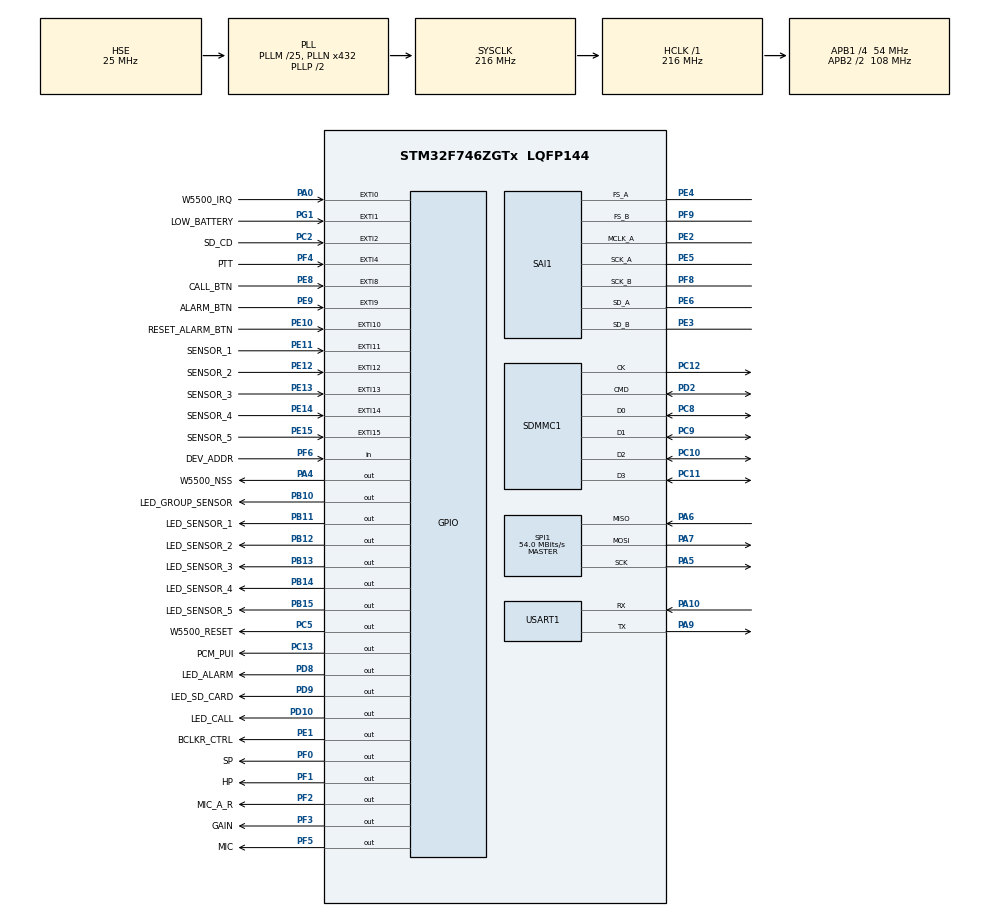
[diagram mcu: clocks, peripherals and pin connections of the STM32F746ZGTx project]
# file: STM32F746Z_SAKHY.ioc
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CORTEX_M7.CPU_DCache=Enabled
CORTEX_M7.CPU_ICache=Enabled
CORTEX_M7.default_mode_Activation=1
Dma.Request0=SDMMC1_RX
Dma.Request1=SDMMC1_TX
Dma.Request2=SAI1_A
Dma.Request3=SAI1_B
Dma.SAI1_A.2.Direction=DMA_MEMORY_TO_PERIPH
Dma.SAI1_A.2.FIFOMode=DMA_FIFOMODE_DISABLE
Dma.SAI1_A.2.Instance=DMA2_Stream1
Dma.SAI1_A.2.MemDataAlignment=DMA_MDATAALIGN_HALFWORD
Dma.SAI1_A.2.MemInc=DMA_MINC_ENABLE
Dma.SAI1_A.2.Mode=DMA_CIRCULAR
Dma.SAI1_A.2.PeriphDataAlignment=DMA_PDATAALIGN_HALFWORD
Dma.SAI1_A.2.PeriphInc=DMA_PINC_DISABLE
Dma.SAI1_A.2.Priority=DMA_PRIORITY_LOW
Dma.SAI1_B.3.Direction=DMA_PERIPH_TO_MEMORY
Dma.SAI1_B.3.FIFOMode=DMA_FIFOMODE_DISABLE
Dma.SAI1_B.3.Instance=DMA2_Stream4
Dma.SAI1_B.3.MemDataAlignment=DMA_MDATAALIGN_HALFWORD
Dma.SAI1_B.3.MemInc=DMA_MINC_ENABLE
Dma.SAI1_B.3.Mode=DMA_CIRCULAR
Dma.SAI1_B.3.PeriphDataAlignment=DMA_PDATAALIGN_HALFWORD
Dma.SAI1_B.3.PeriphInc=DMA_PINC_DISABLE
Dma.SAI1_B.3.Priority=DMA_PRIORITY_LOW
Dma.SDMMC1_RX.0.Direction=DMA_PERIPH_TO_MEMORY
Dma.SDMMC1_RX.0.FIFOMode=DMA_FIFOMODE_ENABLE
Dma.SDMMC1_RX.0.FIFOThreshold=DMA_FIFO_THRESHOLD_FULL
Dma.SDMMC1_RX.0.Instance=DMA2_Stream6
Dma.SDMMC1_RX.0.MemBurst=DMA_MBURST_INC4
Dma.SDMMC1_RX.0.MemDataAlignment=DMA_MDATAALIGN_WORD
Dma.SDMMC1_RX.0.MemInc=DMA_MINC_ENABLE
Dma.SDMMC1_RX.0.Mode=DMA_PFCTRL
Dma.SDMMC1_RX.0.PeriphBurst=DMA_PBURST_INC4
Dma.SDMMC1_RX.0.PeriphDataAlignment=DMA_PDATAALIGN_WORD
Dma.SDMMC1_RX.0.PeriphInc=DMA_PINC_DISABLE
Dma.SDMMC1_RX.0.Priority=DMA_PRIORITY_LOW
Dma.SDMMC1_TX.1.Direction=DMA_MEMORY_TO_PERIPH
Dma.SDMMC1_TX.1.FIFOMode=DMA_FIFOMODE_ENABLE
Dma.SDMMC1_TX.1.FIFOThreshold=DMA_FIFO_THRESHOLD_FULL
Dma.SDMMC1_TX.1.Instance=DMA2_Stream3
Dma.SDMMC1_TX.1.MemBurst=DMA_MBURST_INC4
Dma.SDMMC1_TX.1.MemDataAlignment=DMA_MDATAALIGN_WORD
Dma.SDMMC1_TX.1.MemInc=DMA_MINC_ENABLE
Dma.SDMMC1_TX.1.Mode=DMA_PFCTRL
Dma.SDMMC1_TX.1.PeriphBurst=DMA_PBURST_INC4
Dma.SDMMC1_TX.1.PeriphDataAlignment=DMA_PDATAALIGN_WORD
Dma.SDMMC1_TX.1.PeriphInc=DMA_PINC_DISABLE
Dma.SDMMC1_TX.1.Priority=DMA_PRIORITY_LOW
FATFS._MAX_SS=4096
FATFS._MIN_SS=512
FATFS._USE_LFN=0
FREERTOS.BinarySemaphores01=AudioWrSdBinarySem,Dynamic,NULL,Available
FREERTOS.Queues01=W5500Queue,16,w5500_msg_t,0,Dynamic,NULL,NULL;RxVocoderToAudioMixQueue,16,audio_msg_t,0,Dynamic,NULL,NULL;TxVocoderToAudioMixQueue,16,audio_msg_t,0,Dynamic,NULL,NULL;EthToAudioMixQueue,16,audio_msg_t,0,Dynamic,NULL,NULL;AudioVocoderToProcessAudioQueue,16,audio_msg_t,0,Dynamic,NULL,NULL;AudioWriteSdQueue,16,sd_msg_t,0,Dynamic,NULL,NULL;AudioEthToVocoderQueue,16,audio_msg_t,0,Dynamic,NULL,NULL;IOQueue,16,io_msg_t,0,Dynamic,NULL,NULL
FREERTOS.Tasks01=defaultTask,24,256,Default_Task,Default,NULL,Dynamic,NULL,NULL;W5500Task,8,1024,W5500_Task,Default,NULL,Dynamic,NULL,NULL;SdCardTask,8,2048,SdCard_Task,Default,NULL,Dynamic,NULL,NULL;AudioMixingTask,8,256,AudioMixing_Task,Default,NULL,Dynamic,NULL,NULL;ProcessIOTask,8,256,ProcessIO_Task,Default,NULL,Dynamic,NULL,NULL;WatchdogTask,8,256,Watchdog_Task,Default,NULL,Dynamic,NULL,NULL
FREERTOS.Timers01=CallLedTimer,CallLedCallback,osTimerPeriodic,Default,NULL,Dynamic,NULL
FREERTOS.configMINIMAL_STACK_SIZE=256
FREERTOS.configTOTAL_HEAP_SIZE=51200
FREERTOS.configUSE_NEWLIB_REENTRANT=1
IWDG.Prescaler=IWDG_PRESCALER_32
IWDG.Window=999
Mcu.Family=STM32F7
Mcu.Name=STM32F746ZGTx
Mcu.Package=LQFP144
NVIC.DMA2_Stream1_IRQn=true\:5\:0\:false\:false\:true\:true\:false\:true\:true
NVIC.DMA2_Stream3_IRQn=true\:5\:0\:false\:false\:true\:true\:false\:true\:true
NVIC.DMA2_Stream4_IRQn=true\:5\:0\:false\:false\:true\:true\:false\:true\:true
NVIC.DMA2_Stream6_IRQn=true\:5\:0\:false\:false\:true\:true\:false\:true\:true
NVIC.EXTI0_IRQn=true\:5\:0\:false\:false\:true\:true\:true\:true\:true
NVIC.EXTI15_10_IRQn=true\:5\:0\:false\:false\:true\:true\:true\:true\:true
NVIC.EXTI1_IRQn=true\:5\:0\:false\:false\:true\:true\:true\:true\:true
NVIC.EXTI2_IRQn=true\:5\:0\:false\:false\:true\:true\:true\:true\:true
NVIC.EXTI4_IRQn=true\:5\:0\:false\:false\:true\:true\:true\:true\:true
NVIC.EXTI9_5_IRQn=true\:5\:0\:false\:false\:true\:true\:true\:true\:true
NVIC.PriorityGroup=NVIC_PRIORITYGROUP_4
NVIC.SAI1_IRQn=true\:5\:0\:false\:false\:true\:true\:true\:true\:true
NVIC.SDMMC1_IRQn=true\:5\:0\:false\:false\:true\:true\:true\:true\:true
NVIC.TIM6_DAC_IRQn=true\:15\:0\:false\:false\:true\:false\:false\:true\:true
NVIC.TimeBase=TIM6_DAC_IRQn
NVIC.TimeBaseIP=TIM6
PA0/WKUP.GPIO_Label=W5500_IRQ
PA0/WKUP.GPIO_ModeDefaultEXTI=GPIO_MODE_IT_FALLING
PA0/WKUP.Signal=GPXTI0
PA10.Mode=Asynchronous
PA10.Signal=USART1_RX
PA13.Mode=Trace_Asynchronous_SW
PA13.Signal=SYS_JTMS-SWDIO
PA14.Mode=Trace_Asynchronous_SW
PA14.Signal=SYS_JTCK-SWCLK
PA4.GPIO_Label=W5500_NSS
PA4.Signal=GPIO_Output
PA5.Mode=Full_Duplex_Master
PA5.Signal=SPI1_SCK
PA6.Mode=Full_Duplex_Master
PA6.Signal=SPI1_MISO
PA7.Mode=Full_Duplex_Master
PA7.Signal=SPI1_MOSI
PA9.Mode=Asynchronous
PA9.Signal=USART1_TX
PB10.GPIO_Label=LED_GROUP_SENSOR
PB10.PinState=GPIO_PIN_SET
PB10.Signal=GPIO_Output
PB11.GPIO_Label=LED_SENSOR_1
PB11.PinState=GPIO_PIN_SET
PB11.Signal=GPIO_Output
PB12.GPIO_Label=LED_SENSOR_2
PB12.PinState=GPIO_PIN_SET
PB12.Signal=GPIO_Output
PB13.GPIO_Label=LED_SENSOR_3
PB13.PinState=GPIO_PIN_SET
PB13.Signal=GPIO_Output
PB14.GPIO_Label=LED_SENSOR_4
PB14.PinState=GPIO_PIN_SET
PB14.Signal=GPIO_Output
PB15.GPIO_Label=LED_SENSOR_5
PB15.PinState=GPIO_PIN_SET
PB15.Signal=GPIO_Output
PB3.Mode=Trace_Asynchronous_SW
PB3.Signal=SYS_JTDO-SWO
PC10.GPIO_PuPd=GPIO_PULLUP
PC10.Mode=SD_4_bits_Wide_bus
PC10.Signal=SDMMC1_D2
PC11.GPIO_PuPd=GPIO_PULLUP
PC11.Mode=SD_4_bits_Wide_bus
PC11.Signal=SDMMC1_D3
PC12.Mode=SD_4_bits_Wide_bus
PC12.Signal=SDMMC1_CK
PC13.GPIO_Label=PCM_PUI
PC13.PinState=GPIO_PIN_RESET
PC13.Signal=GPIO_Output
PC2.GPIO_Label=SD_CD
PC2.GPIO_ModeDefaultEXTI=GPIO_MODE_IT_RISING_FALLING
PC2.GPIO_PuPd=GPIO_PULLUP
PC2.Signal=GPXTI2
PC5.GPIO_Label=W5500_RESET
PC5.Signal=GPIO_Output
PC8.GPIO_PuPd=GPIO_PULLUP
PC8.Mode=SD_4_bits_Wide_bus
PC8.Signal=SDMMC1_D0
PC9.GPIO_PuPd=GPIO_PULLUP
PC9.Mode=SD_4_bits_Wide_bus
PC9.Signal=SDMMC1_D1
PD10.GPIO_Label=LED_CALL
PD10.Signal=GPIO_Output
PD2.GPIO_PuPd=GPIO_PULLUP
PD2.Mode=SD_4_bits_Wide_bus
PD2.Signal=SDMMC1_CMD
PD8.GPIO_Label=LED_ALARM
PD8.PinState=GPIO_PIN_SET
PD8.Signal=GPIO_Output
PD9.GPIO_Label=LED_SD_CARD
PD9.Signal=GPIO_Output
PE1.GPIO_Label=BCLKR_CTRL
PE1.Signal=GPIO_Output
PE10.GPIO_Label=RESET_ALARM_BTN
PE10.GPIO_ModeDefaultEXTI=GPIO_MODE_IT_FALLING
PE10.GPIO_PuPd=GPIO_PULLUP
PE10.Signal=GPXTI10
PE11.GPIO_Label=SENSOR_1
PE11.GPIO_ModeDefaultEXTI=GPIO_MODE_IT_RISING_FALLING
PE11.GPIO_PuPd=GPIO_PULLUP
PE11.Signal=GPXTI11
PE12.GPIO_Label=SENSOR_2
PE12.GPIO_ModeDefaultEXTI=GPIO_MODE_IT_RISING_FALLING
PE12.GPIO_PuPd=GPIO_PULLUP
PE12.Signal=GPXTI12
PE13.GPIO_Label=SENSOR_3
PE13.GPIO_ModeDefaultEXTI=GPIO_MODE_IT_RISING_FALLING
PE13.GPIO_PuPd=GPIO_PULLUP
PE13.Signal=GPXTI13
PE14.GPIO_Label=SENSOR_4
PE14.GPIO_ModeDefaultEXTI=GPIO_MODE_IT_RISING_FALLING
PE14.GPIO_PuPd=GPIO_PULLUP
PE14.Signal=GPXTI14
PE15.GPIO_Label=SENSOR_5
PE15.GPIO_ModeDefaultEXTI=GPIO_MODE_IT_RISING_FALLING
PE15.GPIO_PuPd=GPIO_PULLUP
PE15.Signal=GPXTI15
PE2.Mode=SAI_A_MasterWithClock
PE2.Signal=SAI1_MCLK_A
PE3.Mode=SAI_B_Master
PE3.Signal=SAI1_SD_B
PE4.Mode=SAI_A_MasterWithClock
PE4.Signal=SAI1_FS_A
PE5.Mode=SAI_A_MasterWithClock
PE5.Signal=SAI1_SCK_A
PE6.Mode=SAI_A_MasterWithClock
PE6.Signal=SAI1_SD_A
PE8.GPIO_Label=CALL_BTN
PE8.GPIO_ModeDefaultEXTI=GPIO_MODE_IT_RISING_FALLING
PE8.GPIO_PuPd=GPIO_PULLUP
PE8.Signal=GPXTI8
PE9.GPIO_Label=ALARM_BTN
PE9.GPIO_ModeDefaultEXTI=GPIO_MODE_IT_FALLING
PE9.GPIO_PuPd=GPIO_PULLUP
PE9.Signal=GPXTI9
PF0.GPIO_Label=SP
PF0.PinState=GPIO_PIN_SET
PF0.Signal=GPIO_Output
PF1.GPIO_Label=HP
PF1.GPIO_ModeDefaultOutputPP=GPIO_MODE_OUTPUT_OD
PF1.GPIO_PuPd=GPIO_NOPULL
PF1.PinState=GPIO_PIN_SET
PF1.Signal=GPIO_Output
PF2.GPIO_Label=MIC_A_R
PF2.Signal=GPIO_Output
PF3.GPIO_Label=GAIN
PF3.Signal=GPIO_Output
PF4.GPIO_Label=PTT
PF4.GPIO_ModeDefaultEXTI=GPIO_MODE_IT_RISING_FALLING
PF4.GPIO_PuPd=GPIO_NOPULL
PF4.Signal=GPXTI4
PF5.GPIO_Label=MIC
PF5.PinState=GPIO_PIN_SET
PF5.Signal=GPIO_Output
PF6.GPIO_Label=DEV_ADDR
PF6.Signal=GPIO_Input
PF8.Mode=SAI_B_Master
PF8.Signal=SAI1_SCK_B
PF9.Mode=SAI_B_Master
PF9.Signal=SAI1_FS_B
PG1.GPIO_Label=LOW_BATTERY
PG1.Signal=GPXTI1
PH0/OSC_IN.Mode=HSE-External-Oscillator
PH0/OSC_IN.Signal=RCC_OSC_IN
PH1/OSC_OUT.Mode=HSE-External-Oscillator
PH1/OSC_OUT.Signal=RCC_OSC_OUT
ProjectManager.HeapSize=0x2000
ProjectManager.StackSize=0x4000
ProjectManager.TargetToolchain=STM32CubeIDE
RCC.AHBFreq_Value=216000000
RCC.APB1CLKDivider=RCC_HCLK_DIV4
RCC.APB1Freq_Value=54000000
RCC.APB1TimFreq_Value=108000000
RCC.APB2CLKDivider=RCC_HCLK_DIV2
RCC.APB2Freq_Value=108000000
RCC.APB2TimFreq_Value=216000000
RCC.CortexFreq_Value=216000000
RCC.HCLKFreq_Value=216000000
RCC.HSE_VALUE=25000000
RCC.HSI_VALUE=16000000
RCC.LSE_VALUE=32768
RCC.PLLM=25
RCC.PLLN=432
RCC.PLLQ=9
RCC.PLLSAIN=128
RCC.PLLSAIQ=10
RCC.PLLSAIQDiv=25
RCC.PLLSourceVirtual=RCC_PLLSOURCE_HSE
RCC.SDMMCClockSelection=RCC_SDMMC1CLKSOURCE_CLK48
RCC.SYSCLKFreq_VALUE=216000000
RCC.SYSCLKSource=RCC_SYSCLKSOURCE_PLLCLK
RCC.USBFreq_Value=48000000
RCC.VCOOutputFreq_Value=432000000
SAI1.AudioFrequency-SAI_A_MasterWithClock=SAI_AUDIO_FREQUENCY_8K
SAI1.AudioFrequency-SAI_B_Master=SAI_AUDIO_FREQUENCY_8K
SAI1.AudioMode-SAI_B_Master=SAI_MODEMASTER_RX
SAI1.ClockStrobing-SAI_A_MasterWithClock=SAI_CLOCKSTROBING_RISINGEDGE
SAI1.ClockStrobing-SAI_B_Master=SAI_CLOCKSTROBING_FALLINGEDGE
SAI1.DataSize-SAI_A_MasterWithClock=SAI_DATASIZE_16
SAI1.DataSize-SAI_B_Master=SAI_DATASIZE_16
SAI1.ErrorAudioFreq-SAI_A_MasterWithClock=-75.0 %
SAI1.ErrorAudioFreq-SAI_B_Master=-75.0 %
SAI1.FSOffset-SAI_A_MasterWithClock=SAI_FS_BEFOREFIRSTBIT
SAI1.FSOffset-SAI_B_Master=SAI_FS_BEFOREFIRSTBIT
SAI1.FSPolarity-SAI_A_MasterWithClock=SAI_FS_ACTIVE_HIGH
SAI1.FSPolarity-SAI_B_Master=SAI_FS_ACTIVE_HIGH
SAI1.FrameLength-SAI_A_MasterWithClock=64
SAI1.FrameLength-SAI_B_Master=64
SAI1.Instance-SAI_A_MasterWithClock=SAI$Index_Block_A
SAI1.Instance-SAI_B_Master=SAI$Index_Block_B
SAI1.MClockEnable-SAI_A_MasterWithClock=SAI_MASTERCLOCK_ENABLE
SAI1.MClockEnable-SAI_B_Master=SAI_MASTERCLOCK_DISABLE
SAI1.MonoStereoMode-SAI_A_MasterWithClock=SAI_STEREOMODE
SAI1.MonoStereoMode-SAI_B_Master=SAI_STEREOMODE
SAI1.NoDivider-SAI_A_MasterWithClock=SAI_MASTERDIVIDER_DISABLE
SAI1.NoDivider-SAI_B_Master=SAI_MASTERDIVIDER_DISABLE
SAI1.OutputDrive-SAI_A_MasterWithClock=SAI_OUTPUTDRIVE_DISABLE
SAI1.OutputDrive-SAI_B_Master=SAI_OUTPUTDRIVE_DISABLE
SAI1.RealAudioFreq-SAI_A_MasterWithClock=8.0 KHz
SAI1.RealAudioFreq-SAI_B_Master=8.0 KHz
SAI1.SlotActive-SAI_A_MasterWithClock=0x0000FFFF
SAI1.SlotActive-SAI_B_Master=0x0000FFFF
SAI1.TriState-SAI_A_MasterWithClock=SAI_OUTPUT_NOTRELEASED
SAI1.VirtualMode-SAI_A_MasterWithClock=VM_MASTER
SAI1.VirtualMode-SAI_B_Master=VM_MASTER
SAI1.VirtualSlotActive-SAI_A_MasterWithClock=SAI_SLOTACTIVE_ALL
SAI1.VirtualSlotActive-SAI_B_Master=SAI_SLOTACTIVE_ALL
SDMMC1.HardwareFlowControl=SDMMC_HARDWARE_FLOW_CONTROL_DISABLE
SPI1.BaudRatePrescaler=SPI_BAUDRATEPRESCALER_2
SPI1.CalculateBaudRate=54.0 MBits/s
SPI1.DataSize=SPI_DATASIZE_8BIT
SPI1.Direction=SPI_DIRECTION_2LINES
SPI1.Mode=SPI_MODE_MASTER
SPI1.VirtualType=VM_MASTER
USART1.VirtualMode-Asynchronous=VM_ASYNC
VP_FATFS_VS_SDIO.Mode=SDIO
VP_FREERTOS_VS_CMSIS_V2.Mode=CMSIS_V2
VP_IWDG_VS_IWDG.Mode=IWDG_Activate
VP_RTC_VS_RTC_Activate.Mode=RTC_Enabled
VP_RTC_VS_RTC_Calendar.Mode=RTC_Calendar
VP_SYS_VS_tim6.Mode=TIM6
board=custom

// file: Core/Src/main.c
/* USER CODE BEGIN Header */
/**
  ******************************************************************************
  * @file           : main.c
  * @brief          : Main program body
  ******************************************************************************
  * @attention
  *
  * Copyright (c) 2025 STMicroelectronics.
  * All rights reserved.
  *
  * This software is licensed under terms that can be found in the LICENSE file
  * in the root directory of this software component.
  * If no LICENSE file comes with this software, it is provided AS-IS.
  *
  ******************************************************************************
  */
/* USER CODE END Header */
#include "main.h"
#include "cmsis_os.h"
#include "dma.h"
#include "fatfs.h"
#include "rtc.h"
#include "sai.h"
#include "sdmmc.h"
#include "spi.h"
#include "usart.h"
#include "gpio.h"

void SystemClock_Config(void);
void PeriphCommonClock_Config(void);
static void MPU_Config(void);
void MX_FREERTOS_Init(void);

/* USER CODE BEGIN 0 */
/**
 * @brief Retarget printf to ITM/SWO (for debugging).
 */
int _write(int file, char *ptr, int len)
{
	for (int i = 0; i < len; i++) {
		ITM_SendChar(*ptr++);
	}
	return len;
}
/* USER CODE END 0 */

int main(void)
{

  /* MPU Configuration--------------------------------------------------------*/
  MPU_Config();

  /* Enable the CPU Cache */

  /* Enable I-Cache---------------------------------------------------------*/
  SCB_EnableICache();

  /* Enable D-Cache---------------------------------------------------------*/
  SCB_EnableDCache();

  /* MCU Configuration--------------------------------------------------------*/

  /* Reset of all peripherals, Initializes the Flash interface and the Systick. */
  HAL_Init();

  /* Configure the system clock */
  SystemClock_Config();

  /* Configure the peripherals common clocks */
  PeriphCommonClock_Config();

  /* Initialize all configured peripherals */
  MX_GPIO_Init();
  MX_DMA_Init();
  MX_SAI1_Init();
  MX_SDMMC1_SD_Init();
  MX_SPI1_Init();
  MX_USART1_UART_Init();
  MX_RTC_Init();

  /* Init scheduler */
  osKernelInitialize();  /* Call init function for freertos objects (in cmsis_os2.c) */
  MX_FREERTOS_Init();

  /* Start scheduler */
  osKernelStart();

  /* We should never get here as control is now taken by the scheduler */

  /* Infinite loop */
  while (1)
  {

  }
}

void SystemClock_Config(void)
{
  RCC_OscInitTypeDef RCC_OscInitStruct = {0};
  RCC_ClkInitTypeDef RCC_ClkInitStruct = {0};

  /** Configure the main internal regulator output voltage
  */
  __HAL_RCC_PWR_CLK_ENABLE();
  __HAL_PWR_VOLTAGESCALING_CONFIG(PWR_REGULATOR_VOLTAGE_SCALE1);

  /** Initializes the RCC Oscillators according to the specified parameters
  * in the RCC_OscInitTypeDef structure.
  */
  RCC_OscInitStruct.OscillatorType = RCC_OSCILLATORTYPE_LSI|RCC_OSCILLATORTYPE_HSE;
  RCC_OscInitStruct.HSEState = RCC_HSE_ON;
  RCC_OscInitStruct.LSIState = RCC_LSI_ON;
  RCC_OscInitStruct.PLL.PLLState = RCC_PLL_ON;
  RCC_OscInitStruct.PLL.PLLSource = RCC_PLLSOURCE_HSE;
  RCC_OscInitStruct.PLL.PLLM = 25;
  RCC_OscInitStruct.PLL.PLLN = 432;
  RCC_OscInitStruct.PLL.PLLP = RCC_PLLP_DIV2;
  RCC_OscInitStruct.PLL.PLLQ = 9;
  if (HAL_RCC_OscConfig(&RCC_OscInitStruct) != HAL_OK)
  {
    Error_Handler();
  }

  /** Activate the Over-Drive mode
  */
  if (HAL_PWREx_EnableOverDrive() != HAL_OK)
  {
    Error_Handler();
  }

  /** Initializes the CPU, AHB and APB buses clocks
  */
  RCC_ClkInitStruct.ClockType = RCC_CLOCKTYPE_HCLK|RCC_CLOCKTYPE_SYSCLK
                              |RCC_CLOCKTYPE_PCLK1|RCC_CLOCKTYPE_PCLK2;
  RCC_ClkInitStruct.SYSCLKSource = RCC_SYSCLKSOURCE_PLLCLK;
  RCC_ClkInitStruct.AHBCLKDivider = RCC_SYSCLK_DIV1;
  RCC_ClkInitStruct.APB1CLKDivider = RCC_HCLK_DIV4;
  RCC_ClkInitStruct.APB2CLKDivider = RCC_HCLK_DIV2;

  if (HAL_RCC_ClockConfig(&RCC_ClkInitStruct, FLASH_LATENCY_7) != HAL_OK)
  {
    Error_Handler();
  }
}

void PeriphCommonClock_Config(void)
{
  RCC_PeriphCLKInitTypeDef PeriphClkInitStruct = {0};

  /** Initializes the peripherals clock
  */
  PeriphClkInitStruct.PeriphClockSelection = RCC_PERIPHCLK_SAI1|RCC_PERIPHCLK_CLK48;
  PeriphClkInitStruct.PLLSAI.PLLSAIN = 128;
  PeriphClkInitStruct.PLLSAI.PLLSAIR = 2;
  PeriphClkInitStruct.PLLSAI.PLLSAIQ = 10;
  PeriphClkInitStruct.PLLSAI.PLLSAIP = RCC_PLLSAIP_DIV2;
  PeriphClkInitStruct.PLLSAIDivQ = 25;
  PeriphClkInitStruct.PLLSAIDivR = RCC_PLLSAIDIVR_2;
  PeriphClkInitStruct.Sai1ClockSelection = RCC_SAI1CLKSOURCE_PLLSAI;
  if (HAL_RCCEx_PeriphCLKConfig(&PeriphClkInitStruct) != HAL_OK)
  {
    Error_Handler();
  }
}

 /* MPU Configuration */

void MPU_Config(void)
{
  MPU_Region_InitTypeDef MPU_InitStruct = {0};

  /* Disables the MPU */
  HAL_MPU_Disable();

  /** Initializes and configures the Region and the memory to be protected
  */
  MPU_InitStruct.Enable = MPU_REGION_ENABLE;
  MPU_InitStruct.Number = MPU_REGION_NUMBER0;
  MPU_InitStruct.BaseAddress = 0x0;
  MPU_InitStruct.Size = MPU_REGION_SIZE_4GB;
  MPU_InitStruct.SubRegionDisable = 0x87;
  MPU_InitStruct.TypeExtField = MPU_TEX_LEVEL0;
  MPU_InitStruct.AccessPermission = MPU_REGION_NO_ACCESS;
  MPU_InitStruct.DisableExec = MPU_INSTRUCTION_ACCESS_DISABLE;
  MPU_InitStruct.IsShareable = MPU_ACCESS_SHAREABLE;
  MPU_InitStruct.IsCacheable = MPU_ACCESS_NOT_CACHEABLE;
  MPU_InitStruct.IsBufferable = MPU_ACCESS_NOT_BUFFERABLE;

  HAL_MPU_ConfigRegion(&MPU_InitStruct);
  /* Enables the MPU */
  HAL_MPU_Enable(MPU_PRIVILEGED_DEFAULT);

}

void HAL_TIM_PeriodElapsedCallback(TIM_HandleTypeDef *htim)
{
  if (htim->Instance == TIM6)
  {
    HAL_IncTick();
  }
}

void Error_Handler(void)
{
  __disable_irq();
  while (1)
  {
  }
}

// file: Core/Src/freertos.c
/* USER CODE BEGIN Header */
/**
 ******************************************************************************
 * File Name          : freertos.c
 * Description        : Code for freertos applications
 ******************************************************************************
 * @attention
 *
 * Copyright (c) 2025 STMicroelectronics.
 * All rights reserved.
 *
 * This software is licensed under terms that can be found in the LICENSE file
 * in the root directory of this software component.
 * If no LICENSE file comes with this software, it is provided AS-IS.
 *
 ******************************************************************************
 */
/* USER CODE END Header */

#include "FreeRTOS.h"
#include "cmsis_os.h"
#include "main.h"
#include "task.h"

/* USER CODE BEGIN Includes */
#include "audio_mixing.h"
#include "device.h"
#include "ethernet.h"
#include "fatfs_app.h"
#include "heap_pool.h"
#include "io_control.h"
#include "iwdg.h"
#include "rtc.h"
#include "sai.h"
#include "sdmmc.h"
#include <stdio.h>
/* USER CODE END Includes */

/* USER CODE BEGIN PTD */
enum
{
  TASK_ID_0,
  TASK_ID_1,
  TASK_ID_2,
  TASK_ID_3,
  TASK_ID_ALL,
};
/**
 * @brief W5500 operation state.
 */
typedef enum
{
  W5500_CMD_RECEIVE,         /**< Receiving data from W5500 */
  W5500_CMD_TRANSMIT_SAMPLE, /**< Transmitting data sample to W5500 */
  W5500_CMD_TRANSMIT_FIELD,  /**< Transmitting data field to W5500 */
} w5500_cmd_e;

typedef enum
{
  IO_CMD_LOW_BATTERY,
  IO_CMD_SD_CD,
  IO_CMD_PTT,
  IO_CMD_CALL_LOCAL,
  IO_CMD_CALL_DEST,
  IO_CMD_ALARM_LOCAL,
  IO_CMD_ALARM_DEST,
  IO_CMD_RESET_ALARM,
  IO_CMD_SENSOR_LOCAL,
  IO_CMD_SENSOR_DEST,
} io_cmd_e;

typedef enum
{
  SD_INIT,
  SD_DEINIT,
  SD_CREATE_WAV_FILE,
  SD_WRITE_WAV_DATA,
  SD_FILE_WAV_CLOSE,
} sd_cmd_e;

typedef struct
{
  uint8_t active_buf;
  uint32_t write_offset;
} sd_write_state_t;

typedef struct
{
  uint32_t cnt;
} record_t;

typedef enum
{
  FIELD_CMD,
  FIELD_DATA,
  FIELD_SIZE,
} field_size_e;

typedef struct
{
  w5500_cmd_e w5500_cmd;
  io_cmd_e io_cmd;
  uint8_t field;
  uint8_t *data_ptr;
  uint16_t data_len;
} w5500_msg_t;

typedef enum
{
  VOCODER_CMD_BUFFER_0,
  VOCODER_CMD_BUFFER_1
} vocoder_cmd_t;

typedef struct
{
  vocoder_cmd_t cmd;
  int16_t *ptr;
} vocoder_msg_t;

typedef struct
{
  int16_t *ptr;
} audio_msg_t;

typedef struct
{
  io_cmd_e cmd;
  uint8_t field;
} io_msg_t;

typedef struct
{
  sd_cmd_e cmd;
  int16_t *ptr;
} sd_msg_t;

/* USER CODE END PTD */

/* USER CODE BEGIN PD */
#define NUM_TASKS TASK_ID_ALL

#define AUDIO_SAMPLE_SIZE 160
#define AUDIO_BUF_SIZE AUDIO_SAMPLE_SIZE
#define W5500_BUF_SIZE (AUDIO_SAMPLE_SIZE * 2)
#define SD_WRITE_BUF_SIZE 8000  // 8000 = 500 ms
#define RECORD_BLOCK_COUNT 6000 // 3000 sec one block 500 ms

#define HEAP_POOL_AUDIO_ETH_TO_VOCODER_BLOCK_COUNT 20
#define HEAP_POOL_AUDIO_ETH_TO_VOCODER_BLOCK_SIZE (AUDIO_SAMPLE_SIZE * 2)

#define HEAP_POOL_AUDIO_WR_SD_BLOCK_COUNT 20
#define HEAP_POOL_AUDIO_WR_SD_BLOCK_SIZE (AUDIO_SAMPLE_SIZE * 2)
/* USER CODE END PD */

/* USER CODE BEGIN Variables */
volatile uint8_t task_alive[NUM_TASKS] = {0, 0, 0, 0};

uint8_t w5500_buf_tx[W5500_BUF_SIZE];
uint8_t w5500_buf_rx[W5500_BUF_SIZE];
/* --- Double buffers --- */
int16_t sai_a_buf[AUDIO_BUF_SIZE * 2] __ALIGNED(4);
int16_t sai_b_buf[AUDIO_BUF_SIZE * 2] __ALIGNED(4);
int16_t silence_buffer[AUDIO_SAMPLE_SIZE] = {0};

__attribute__((aligned(32))) static uint8_t sd_buf[2][SD_WRITE_BUF_SIZE];
static sd_write_state_t sd_state = {.active_buf = 0, .write_offset = 0};

uint8_t heap_pool_audio_eth_to_vocoder_memory[HEAP_POOL_AUDIO_ETH_TO_VOCODER_BLOCK_COUNT *
                                              HEAP_POOL_AUDIO_ETH_TO_VOCODER_BLOCK_SIZE] __ALIGNED(4);
uint8_t heap_pool_audio_eth_to_vocoder_bitmap[(HEAP_POOL_AUDIO_ETH_TO_VOCODER_BLOCK_COUNT - 7) / 8];
heap_pool_t heap_pool_audio_eth_to_vocoder;

uint8_t heap_pool_audio_wr_sd_memory[HEAP_POOL_AUDIO_WR_SD_BLOCK_COUNT * HEAP_POOL_AUDIO_WR_SD_BLOCK_SIZE] __ALIGNED(4);
uint8_t heap_pool_audio_wr_sd_bitmap[(HEAP_POOL_AUDIO_WR_SD_BLOCK_COUNT - 7) / 8];
heap_pool_t heap_pool_audio_wr_sd;

field_t device_local;
field_t device_remote;

record_t record;
/* USER CODE END Variables */
/* Definitions for defaultTask */
osThreadId_t defaultTaskHandle;
const osThreadAttr_t defaultTask_attributes = {
    .name = "defaultTask",
    .stack_size = 256 * 4,
    .priority = (osPriority_t)osPriorityNormal,
};
/* Definitions for W5500Task */
osThreadId_t W5500TaskHandle;
const osThreadAttr_t W5500Task_attributes = {
    .name = "W5500Task",
    .stack_size = 1024 * 4,
    .priority = (osPriority_t)osPriorityLow,
};
/* Definitions for SdCardTask */
osThreadId_t SdCardTaskHandle;
const osThreadAttr_t SdCardTask_attributes = {
    .name = "SdCardTask",
    .stack_size = 2048 * 4,
    .priority = (osPriority_t)osPriorityLow,
};
/* Definitions for AudioMixingTask */
osThreadId_t AudioMixingTaskHandle;
const osThreadAttr_t AudioMixingTask_attributes = {
    .name = "AudioMixingTask",
    .stack_size = 256 * 4,
    .priority = (osPriority_t)osPriorityLow,
};
/* Definitions for ProcessIOTask */
osThreadId_t ProcessIOTaskHandle;
const osThreadAttr_t ProcessIOTask_attributes = {
    .name = "ProcessIOTask",
    .stack_size = 256 * 4,
    .priority = (osPriority_t)osPriorityLow,
};
/* Definitions for WatchdogTask */
osThreadId_t WatchdogTaskHandle;
const osThreadAttr_t WatchdogTask_attributes = {
    .name = "WatchdogTask",
    .stack_size = 256 * 4,
    .priority = (osPriority_t)osPriorityLow,
};
/* Definitions for W5500Queue */
osMessageQueueId_t W5500QueueHandle;
const osMessageQueueAttr_t W5500Queue_attributes = {.name = "W5500Queue"};
/* Definitions for RxVocoderToAudioMixQueue */
osMessageQueueId_t RxVocoderToAudioMixQueueHandle;
const osMessageQueueAttr_t RxVocoderToAudioMixQueue_attributes = {.name = "RxVocoderToAudioMixQueue"};
/* Definitions for TxVocoderToAudioMixQueue */
osMessageQueueId_t TxVocoderToAudioMixQueueHandle;
const osMessageQueueAttr_t TxVocoderToAudioMixQueue_attributes = {.name = "TxVocoderToAudioMixQueue"};
/* Definitions for EthToAudioMixQueue */
osMessageQueueId_t EthToAudioMixQueueHandle;
const osMessageQueueAttr_t EthToAudioMixQueue_attributes = {.name = "EthToAudioMixQueue"};
/* Definitions for AudioVocoderToProcessAudioQueue */
osMessageQueueId_t AudioVocoderToProcessAudioQueueHandle;
const osMessageQueueAttr_t AudioVocoderToProcessAudioQueue_attributes = {.name = "AudioVocoderToProcessAudioQueue"};
/* Definitions for AudioWriteSdQueue */
osMessageQueueId_t AudioWriteSdQueueHandle;
const osMessageQueueAttr_t AudioWriteSdQueue_attributes = {.name = "AudioWriteSdQueue"};
/* Definitions for AudioEthToVocoderQueue */
osMessageQueueId_t AudioEthToVocoderQueueHandle;
const osMessageQueueAttr_t AudioEthToVocoderQueue_attributes = {.name = "AudioEthToVocoderQueue"};
/* Definitions for IOQueue */
osMessageQueueId_t IOQueueHandle;
const osMessageQueueAttr_t IOQueue_attributes = {.name = "IOQueue"};
/* Definitions for CallLedTimer */
osTimerId_t CallLedTimerHandle;
const osTimerAttr_t CallLedTimer_attributes = {.name = "CallLedTimer"};
/* Definitions for AudioWrSdBinarySem */
osSemaphoreId_t AudioWrSdBinarySemHandle;
const osSemaphoreAttr_t AudioWrSdBinarySem_attributes = {.name = "AudioWrSdBinarySem"};

/* USER CODE BEGIN FunctionPrototypes */
void timer_call_start(void);
void timer_call_stop(void);
static uint8_t all_tasks_alive(void);
/* USER CODE END FunctionPrototypes */

void Default_Task(void *argument);
void W5500_Task(void *argument);
void SdCard_Task(void *argument);
void AudioMixing_Task(void *argument);
void ProcessIO_Task(void *argument);
void Watchdog_Task(void *argument);
void CallLedCallback(void *argument);

void MX_FREERTOS_Init(void); /* (MISRA C 2004 rule 8.1) */

void MX_FREERTOS_Init(void)
{
  /* USER CODE BEGIN Init */
  heap_pool_init(&heap_pool_audio_eth_to_vocoder, heap_pool_audio_eth_to_vocoder_memory, heap_pool_audio_eth_to_vocoder_bitmap,
                 HEAP_POOL_AUDIO_ETH_TO_VOCODER_BLOCK_SIZE, HEAP_POOL_AUDIO_ETH_TO_VOCODER_BLOCK_COUNT);
  heap_pool_init(&heap_pool_audio_wr_sd, heap_pool_audio_wr_sd_memory, heap_pool_audio_wr_sd_bitmap, HEAP_POOL_AUDIO_WR_SD_BLOCK_SIZE,
                 HEAP_POOL_AUDIO_WR_SD_BLOCK_COUNT);

  mic_ar_set(AR_MED);
  mic_gain_set(GAIN_50DB);
  BCLKR_Set_Low();
  HAL_SAI_Transmit_DMA(&hsai_BlockA1, (uint8_t *)sai_a_buf, AUDIO_BUF_SIZE * 2);
  HAL_SAI_Receive_DMA(&hsai_BlockB1, (uint8_t *)sai_b_buf, AUDIO_BUF_SIZE * 2);
  /* USER CODE END Init */

  /* Create the semaphores(s) */
  /* creation of AudioWrSdBinarySem */
  AudioWrSdBinarySemHandle = osSemaphoreNew(1, 1, &AudioWrSdBinarySem_attributes);

  /* Create the timer(s) */
  /* creation of CallLedTimer */
  CallLedTimerHandle = osTimerNew(CallLedCallback, osTimerPeriodic, NULL, &CallLedTimer_attributes);

  /* Create the queue(s) */
  /* creation of W5500Queue */
  W5500QueueHandle = osMessageQueueNew(16, sizeof(w5500_msg_t), &W5500Queue_attributes);

  /* creation of RxVocoderToAudioMixQueue */
  RxVocoderToAudioMixQueueHandle = osMessageQueueNew(16, sizeof(audio_msg_t), &RxVocoderToAudioMixQueue_attributes);

  /* creation of TxVocoderToAudioMixQueue */
  TxVocoderToAudioMixQueueHandle = osMessageQueueNew(16, sizeof(audio_msg_t), &TxVocoderToAudioMixQueue_attributes);

  /* creation of EthToAudioMixQueue */
  EthToAudioMixQueueHandle = osMessageQueueNew(16, sizeof(audio_msg_t), &EthToAudioMixQueue_attributes);

  /* creation of AudioVocoderToProcessAudioQueue */
  AudioVocoderToProcessAudioQueueHandle = osMessageQueueNew(16, sizeof(audio_msg_t), &AudioVocoderToProcessAudioQueue_attributes);

  /* creation of AudioWriteSdQueue */
  AudioWriteSdQueueHandle = osMessageQueueNew(16, sizeof(sd_msg_t), &AudioWriteSdQueue_attributes);

  /* creation of AudioEthToVocoderQueue */
  AudioEthToVocoderQueueHandle = osMessageQueueNew(16, sizeof(audio_msg_t), &AudioEthToVocoderQueue_attributes);

  /* creation of IOQueue */
  IOQueueHandle = osMessageQueueNew(16, sizeof(io_msg_t), &IOQueue_attributes);

  /* Create the thread(s) */
  /* creation of defaultTask */
  defaultTaskHandle = osThreadNew(Default_Task, NULL, &defaultTask_attributes);

  /* creation of W5500Task */
  W5500TaskHandle = osThreadNew(W5500_Task, NULL, &W5500Task_attributes);

  /* creation of SdCardTask */
  SdCardTaskHandle = osThreadNew(SdCard_Task, NULL, &SdCardTask_attributes);

  /* creation of AudioMixingTask */
  AudioMixingTaskHandle = osThreadNew(AudioMixing_Task, NULL, &AudioMixingTask_attributes);

  /* creation of ProcessIOTask */
  ProcessIOTaskHandle = osThreadNew(ProcessIO_Task, NULL, &ProcessIOTask_attributes);

  /* creation of WatchdogTask */
  WatchdogTaskHandle = osThreadNew(Watchdog_Task, NULL, &WatchdogTask_attributes);

}

void Default_Task(void *argument)
{
  for (;;)
  {
    osDelay(1);
  }
}

void W5500_Task(void *argument)
{
  /* USER CODE BEGIN W5500_Task */
  osStatus_t status;
  w5500_msg_t w5500_msg;
  io_msg_t io_msg;
  uint8_t *u8_ptr;
  audio_msg_t audio_msg;
  uint16_t len;
  uint8_t sn;
  uint8_t from_pool = 1;

  ethernet_init();
  udp_socket_open();
  /* Infinite loop */
  for (;;)
  {
    status = osMessageQueueGet(W5500QueueHandle, &w5500_msg, NULL, 100);
    if (status == osOK)
    {
      switch (w5500_msg.w5500_cmd)
      {
      case W5500_CMD_RECEIVE:
        u8_ptr = heap_pool_alloc(&heap_pool_audio_eth_to_vocoder);
        if (u8_ptr == NULL)
        {
          u8_ptr = w5500_buf_rx;
          from_pool = 0;
        }
        else
        {
          from_pool = 1;
        }
        len = udp_socket_receive(u8_ptr);
        if (len == AUDIO_SAMPLE_SIZE * 2)
        {
          if (ptt_state_get() == PTT_ACTIVE)
          {
            audio_msg.ptr = (int16_t *)u8_ptr;
            osMessageQueuePut(EthToAudioMixQueueHandle, &audio_msg, 0U, 0U);
          }
          else
          {
            if (from_pool)
            {
              heap_pool_free(&heap_pool_audio_eth_to_vocoder, u8_ptr);
            }
          }
        }
        else if (len == FIELD_SIZE)
        {
          io_msg.cmd = u8_ptr[FIELD_CMD];
          io_msg.field = u8_ptr[FIELD_DATA];
          osMessageQueuePut(IOQueueHandle, &io_msg, 0U, 0U);
          if (from_pool)
          {
            heap_pool_free(&heap_pool_audio_eth_to_vocoder, u8_ptr);
          }
        }
        else
        {
          if (from_pool)
          {
            heap_pool_free(&heap_pool_audio_eth_to_vocoder, u8_ptr);
          }
        }
        break;
      case W5500_CMD_TRANSMIT_SAMPLE: udp_socket_send((uint8_t *)w5500_msg.data_ptr, AUDIO_SAMPLE_SIZE * 2); break;
      case W5500_CMD_TRANSMIT_FIELD:
        w5500_buf_tx[FIELD_CMD] = w5500_msg.io_cmd;
        w5500_buf_tx[FIELD_DATA] = w5500_msg.field;
        udp_socket_send(w5500_buf_tx, FIELD_SIZE);
        break;
      default: break;
      }
    }
    else
    {
      sn = w5500_get_sn_ir(UDP_SOCKET);
      if (sn & SOCKET_INT_RECV)
      {
        w5500_msg_t w5500_msg = {.w5500_cmd = W5500_CMD_RECEIVE};
        osMessageQueuePut(W5500QueueHandle, &w5500_msg, 0U, 0U);
      }
    }
    task_alive[TASK_ID_0] = 1;
  }
  /* USER CODE END W5500_Task */
}

void SdCard_Task(void *argument)
{
  /* USER CODE BEGIN SdCard_Task */
  osStatus_t status = osError;
  uint8_t sd_card_init_flag = 0;
  uint8_t rtc_time_set_flag = 0;
  sd_msg_t sd_msg;
  RTC_TimeTypeDef time = {0};
  RTC_DateTypeDef date = {0};
  /* Infinite loop */
  sd_card_led_off();
  if (sd_cd_state_get() == SD_CD_LOW)
  {
    sd_msg.cmd = SD_INIT;
    osMessageQueuePut(AudioWriteSdQueueHandle, &sd_msg, 0U, 0U);
  }

  for (;;)
  {
    status = osMessageQueueGet(AudioWriteSdQueueHandle, &sd_msg, NULL, 100);
    if (status == osOK)
    {
      switch (sd_msg.cmd)
      {
      case SD_INIT:
        if (!sd_card_init_flag)
        {
          MX_FATFS_Init();
          __HAL_RCC_SDMMC1_FORCE_RESET();
          __HAL_RCC_SDMMC1_RELEASE_RESET();
          if (HAL_SD_Init(&hsd1) != HAL_OK)
          {
            MX_FATFS_DeInit();
            break;
          }
          if (fs_check_fat32() == FR_OK)
          {
            sd_card_led_on();
            sd_card_init_flag = 1;
            wav_file_count_set(fatfs32_count_wav_files());
            if (!rtc_time_set_flag)
            {
              FRESULT res = read_datetime_from_index_dat(&time, &date);
              if (res == FR_OK)
              {
                HAL_RTC_SetTime(&hrtc, &time, RTC_FORMAT_BIN);
                HAL_RTC_SetDate(&hrtc, &date, RTC_FORMAT_BIN);
                rtc_time_set_flag = 1;
              }
              else
              {
                // обработка ошибки FatFs
              }
            }
          }
          else
          {
            f_mount(NULL, "", 0);
            HAL_SD_DeInit(&hsd1);
            MX_FATFS_DeInit();
          }
        }
        break;
      case SD_DEINIT:
        if (sd_card_init_flag)
        {
          f_mount(NULL, "", 0);
          HAL_SD_DeInit(&hsd1);
          MX_FATFS_DeInit();
          sd_card_init_flag = 0;
          sd_card_led_off();
        }
        break;
      case SD_CREATE_WAV_FILE: break;
      case SD_WRITE_WAV_DATA:
        if (sd_card_init_flag)
        {
          wav_file_create();
          if (wav_file_write_data("Music.wav", sd_msg.ptr, SD_WRITE_BUF_SIZE / 2) != FR_OK)
          {
          }
          else
          {
            record.cnt++;
            if (record.cnt == RECORD_BLOCK_COUNT)
            {
              if (wav_update_header() != FR_OK)
              {
              }
              else
              {
              }
              if (wav_file_close() != FR_OK)
              {
              }
              else
              {
              }
              record.cnt = 0;
            }
          }
        }
        break;
      case SD_FILE_WAV_CLOSE:
        if (sd_card_init_flag)
        {
          if (wav_update_header() != FR_OK)
          {
          }
          else
          {
          }
          if (wav_file_close() != FR_OK)
          {
          }
          else
          {
          }
          sd_state.active_buf = 0;
          sd_state.write_offset = 0;
          record.cnt = 0;
        }
        break;
      default: break;
      }
    }
    task_alive[TASK_ID_1] = 1;
  }
  /* USER CODE END SdCard_Task */
}

void AudioMixing_Task(void *argument)
{
  /* USER CODE BEGIN AudioMixing_Task */
  osStatus_t statusEth;
  osStatus_t statusRxVocoder;
  osStatus_t statusTxVocoder;
  audio_msg_t vocoder_tx_msg;
  audio_msg_t vocoder_rx_msg;
  audio_msg_t eth_to_audio_mix_msg;
  sd_msg_t sd_msg;
  //  uint8_t *u8_ptr;
  //  audio_msg_t audio_msg;
  //  int16_t *i16_ptr;
  /* Infinite loop */

  for (;;)
  {
    statusTxVocoder = osMessageQueueGet(TxVocoderToAudioMixQueueHandle, &vocoder_tx_msg, NULL, 100);
    if (statusTxVocoder == osOK)
    {
      statusEth = osMessageQueueGet(EthToAudioMixQueueHandle, &eth_to_audio_mix_msg, NULL, 0);

      // Write sd card
      if (dev_addr_get() == DEV_ADDR_A)
      {
        statusRxVocoder = osMessageQueueGet(RxVocoderToAudioMixQueueHandle, &vocoder_rx_msg, NULL, 0);
        if (statusRxVocoder == osOK)
        {
          // mixing of receive and transmit traffic if there is reception and write buffer sd_buf
          if (statusEth == osOK)
          {
            multisamples_mixing(vocoder_tx_msg.ptr, vocoder_rx_msg.ptr, (int16_t *)(&sd_buf[sd_state.active_buf][sd_state.write_offset]),
                                AUDIO_SAMPLE_SIZE);
          }
          // SD buffer write buffer transfer only
          else
          {
            memcpy(&sd_buf[sd_state.active_buf][sd_state.write_offset], vocoder_rx_msg.ptr, AUDIO_SAMPLE_SIZE * sizeof(int16_t));
          }

          sd_state.write_offset += AUDIO_SAMPLE_SIZE * sizeof(int16_t);
          if (sd_state.write_offset >= SD_WRITE_BUF_SIZE)
          {
            sd_msg.cmd = SD_WRITE_WAV_DATA;
            sd_msg.ptr = (int16_t *)sd_buf[sd_state.active_buf];
            osMessageQueuePut(AudioWriteSdQueueHandle, &sd_msg, 0U, 0U);
            sd_state.active_buf ^= 1; /* переключение буфера */
            sd_state.write_offset = 0;
          }
        }
      }

      // if there is Ethernet traffic
      if (statusEth == osOK)
      {
        // check alarm
        if (flag_alarm_button_get() == ALARM_FLAG_STATE_ON)
        {
          copy_int16_array_circular(&pcm_buf_alarm, vocoder_tx_msg.ptr, AUDIO_SAMPLE_SIZE);
          multisamples_mixing(vocoder_tx_msg.ptr, eth_to_audio_mix_msg.ptr, vocoder_tx_msg.ptr, AUDIO_SAMPLE_SIZE);
        }
        // check call
        else if (flag_call_get() == CALL_FLAG_STATE_ON)
        {
          copy_int16_array_circular(&pcm_buf_call, vocoder_tx_msg.ptr, AUDIO_SAMPLE_SIZE);
          multisamples_mixing(vocoder_tx_msg.ptr, eth_to_audio_mix_msg.ptr, vocoder_tx_msg.ptr, AUDIO_SAMPLE_SIZE);
        }
        // voice
        else
        {
          memcpy(vocoder_tx_msg.ptr, eth_to_audio_mix_msg.ptr, AUDIO_SAMPLE_SIZE * sizeof(int16_t));
        }
        heap_pool_free(&heap_pool_audio_eth_to_vocoder, (uint8_t *)eth_to_audio_mix_msg.ptr);
      }
      else
      {
        // check alarm
        if (flag_alarm_button_get() == ALARM_FLAG_STATE_ON)
        {
          copy_int16_array_circular(&pcm_buf_alarm, vocoder_tx_msg.ptr, AUDIO_SAMPLE_SIZE);
        }
        // check call
        else if (flag_call_get() == CALL_FLAG_STATE_ON)
        {
          copy_int16_array_circular(&pcm_buf_call, vocoder_tx_msg.ptr, AUDIO_SAMPLE_SIZE);
        }
        // noise
        else
        {
          memset(vocoder_tx_msg.ptr, 0, AUDIO_SAMPLE_SIZE * sizeof(int16_t));
        }
      }
    }
    task_alive[TASK_ID_2] = 1;
  }
  /* USER CODE END AudioMixing_Task */
}

void ProcessIO_Task(void *argument)
{
  /* USER CODE BEGIN ProcessIO_Task */
  osStatus_t status;
  w5500_msg_t w5500_msg;
  io_msg_t io_msg;
  sd_msg_t sd_msg;

  sensor_1_led_off();
  sensor_2_led_off();
  sensor_3_led_off();
  sensor_4_led_off();
  sensor_5_led_off();
  group_led_off();
  read_state_sensors(&field_local);
  process_field_sensor(&field_local, &field_dest);

  if (ptt_state_get() == PTT_ACTIVE)
  {
    vocoder_enable(); // vocoder disable
    hp_on();          // handset speaker amplifier
    mic_on();         // off the microphone amplifier
  }

  /* Infinite loop */
  for (;;)
  {
    status = osMessageQueueGet(IOQueueHandle, &io_msg, NULL, 100);
    if (status == osOK)
    {
      switch (io_msg.cmd)
      {
      case IO_CMD_LOW_BATTERY: break;
      case IO_CMD_SD_CD:
        osDelay(20);
        if (sd_cd_state_get() == SD_CD_LOW)
        {
          sd_msg.cmd = SD_INIT;
          osMessageQueuePut(AudioWriteSdQueueHandle, &sd_msg, 0U, 0U);
        }
        else
        {
          sd_msg.cmd = SD_DEINIT;
          osMessageQueuePut(AudioWriteSdQueueHandle, &sd_msg, 0U, 0U);
        }
        HAL_NVIC_EnableIRQ(EXTI2_IRQn);
        break;
      case IO_CMD_PTT:
        osDelay(20);
        if (ptt_state_get() == PTT_INACTIVE)
        {
          if (flag_alarm_button_get() == ALARM_FLAG_STATE_OFF)
          {
            vocoder_disable(); // vocoder enable
          }
          hp_off();  // off the handset speaker amplifier
          mic_off(); // off the microphone amplifier
          sd_msg.cmd = SD_FILE_WAV_CLOSE;
          osMessageQueuePut(AudioWriteSdQueueHandle, &sd_msg, 0U, 0U);
        }
        else
        {
          vocoder_enable();  // Vocoder disable
          hp_on();           // Handset speaker amplifier
          mic_on();          // off the microphone amplifier
          flag_call_clear(); // Flag call clear
          timer_call_stop(); // Timer stop
          call_led_off();    // Led off
        }

        HAL_NVIC_EnableIRQ(EXTI4_IRQn);
        break;
      case IO_CMD_CALL_LOCAL:
        w5500_msg.w5500_cmd = W5500_CMD_TRANSMIT_FIELD;
        w5500_msg.io_cmd = IO_CMD_CALL_DEST;
        osDelay(20);
        if (HAL_GPIO_ReadPin(CALL_BTN_GPIO_Port, CALL_BTN_Pin) == GPIO_PIN_RESET)
        {
          CLEAR_BIT(w5500_msg.field, (1 << FIELD_CALL));
        }
        else
        {
          SET_BIT(w5500_msg.field, (1 << FIELD_CALL));
        }
        osMessageQueuePut(W5500QueueHandle, &w5500_msg, 0U, 0U);
        break;
      case IO_CMD_CALL_DEST:
        field_dest.state = copy_bits(field_dest.state, io_msg.field, MASK_0_BIT_CALL);
        process_field_call(&field_dest);
        break;
      case IO_CMD_ALARM_LOCAL:
        osDelay(20);
        if (HAL_GPIO_ReadPin(ALARM_BTN_GPIO_Port, ALARM_BTN_Pin) == GPIO_PIN_RESET)
        {
          w5500_msg.w5500_cmd = W5500_CMD_TRANSMIT_FIELD;
          w5500_msg.io_cmd = IO_CMD_ALARM_DEST;
          CLEAR_BIT(w5500_msg.field, (1 << FIELD_ALARM));
          osMessageQueuePut(W5500QueueHandle, &w5500_msg, 0U, 0U);
        }
        break;
      case IO_CMD_ALARM_DEST:
        field_dest.state = copy_bits(field_dest.state, io_msg.field, MASK_1_BIT_ALARM);
        process_field_alarm_button(&field_dest);
        break;
      case IO_CMD_RESET_ALARM:
        flag_alarm_sensor_clear();
        process_field_reset_alarm(&field_local, &field_dest);
        break;
      case IO_CMD_SENSOR_LOCAL:
        read_state_sensors(&field_local);
        process_field_sensor(&field_local, &field_dest);
        w5500_msg.w5500_cmd = W5500_CMD_TRANSMIT_FIELD;
        w5500_msg.io_cmd = IO_CMD_SENSOR_DEST;
        w5500_msg.field = field_local.state;
        osMessageQueuePut(W5500QueueHandle, &w5500_msg, 0U, 0U);
        break;
      case IO_CMD_SENSOR_DEST:
        field_dest.state = copy_bits(field_dest.state, io_msg.field, MASK_2_6_BITS_SENSORS);
        read_state_sensors(&field_local);
        process_field_sensor(&field_local, &field_dest);
        break;
      default: break;
      }
    }
    task_alive[TASK_ID_3] = 1;
  }
  /* USER CODE END ProcessIO_Task */
}

void Watchdog_Task(void *argument)
{
  /* USER CODE BEGIN Watchdog_Task */
  /* Infinite loop */
  while (!all_tasks_alive())
  {
    osDelay(100);
  }
  MX_IWDG_Init();

  for (;;)
  {
    if (all_tasks_alive())
    {
      HAL_IWDG_Refresh(&hiwdg);
    }
    osDelay(100);
  }
  /* USER CODE END Watchdog_Task */
}

/* CallLedCallback function */
void CallLedCallback(void *argument)
{
  /* USER CODE BEGIN CallLedCallback */
  HAL_GPIO_TogglePin(LED_CALL_GPIO_Port, LED_CALL_Pin);
  /* USER CODE END CallLedCallback */
}

/* USER CODE BEGIN Application */
void HAL_GPIO_EXTI_Callback(uint16_t GPIO_Pin)
{
  io_msg_t io_msg;

  switch (GPIO_Pin)
  {
  case W5500_IRQ_Pin:
    w5500_msg_t w5500_msg = {.w5500_cmd = W5500_CMD_RECEIVE};
    osMessageQueuePut(W5500QueueHandle, &w5500_msg, 0U, 0U);
    break;
  case LOW_BATTERY_Pin:
    io_msg.cmd = IO_CMD_LOW_BATTERY;
    osMessageQueuePut(IOQueueHandle, &io_msg, 0U, 0U);
    break;
  case SD_CD_Pin:
    HAL_NVIC_DisableIRQ(EXTI2_IRQn);
    io_msg.cmd = IO_CMD_SD_CD;
    osMessageQueuePut(IOQueueHandle, &io_msg, 0U, 0U);
    break;
  case PTT_Pin:
    HAL_NVIC_DisableIRQ(EXTI4_IRQn);
    io_msg.cmd = IO_CMD_PTT;
    osMessageQueuePut(IOQueueHandle, &io_msg, 0U, 0U);
    break;
  case CALL_BTN_Pin:
    io_msg.cmd = IO_CMD_CALL_LOCAL;
    osMessageQueuePut(IOQueueHandle, &io_msg, 0U, 0U);
    break;
  case ALARM_BTN_Pin:
    io_msg.cmd = IO_CMD_ALARM_LOCAL;
    osMessageQueuePut(IOQueueHandle, &io_msg, 0U, 0U);
    break;
  case RESET_ALARM_BTN_Pin:
    io_msg.cmd = IO_CMD_RESET_ALARM;
    osMessageQueuePut(IOQueueHandle, &io_msg, 0U, 0U);
    break;
  case SENSOR_1_Pin:
    io_msg.cmd = IO_CMD_SENSOR_LOCAL;
    osMessageQueuePut(IOQueueHandle, &io_msg, 0U, 0U);
    break;
  case SENSOR_2_Pin:
    io_msg.cmd = IO_CMD_SENSOR_LOCAL;
    osMessageQueuePut(IOQueueHandle, &io_msg, 0U, 0U);
    break;
  case SENSOR_3_Pin:
    io_msg.cmd = IO_CMD_SENSOR_LOCAL;
    osMessageQueuePut(IOQueueHandle, &io_msg, 0U, 0U);
    break;
  case SENSOR_4_Pin:
    io_msg.cmd = IO_CMD_SENSOR_LOCAL;
    osMessageQueuePut(IOQueueHandle, &io_msg, 0U, 0U);
    break;
  case SENSOR_5_Pin:
    io_msg.cmd = IO_CMD_SENSOR_LOCAL;
    osMessageQueuePut(IOQueueHandle, &io_msg, 0U, 0U);
    break;
  default: break;
  }
}

/**
 * @brief  Callback: передача половины TX-буфера завершена
 * @param  hsai : указатель на SAI handle
 */
void HAL_SAI_TxHalfCpltCallback(SAI_HandleTypeDef *hsai)
{
  audio_msg_t audio_msg = {.ptr = &sai_a_buf[0]};
  osMessageQueuePut(TxVocoderToAudioMixQueueHandle, &audio_msg, 0U, 0U);
}

/**
 * @brief  Callback: передача полного TX-буфера завершена
 * @param  hsai : указатель на SAI handle
 */
void HAL_SAI_TxCpltCallback(SAI_HandleTypeDef *hsai)
{
  audio_msg_t audio_msg = {.ptr = &sai_a_buf[AUDIO_SAMPLE_SIZE]};
  osMessageQueuePut(TxVocoderToAudioMixQueueHandle, &audio_msg, 0U, 0U);
}

/**
 * @brief  Callback: приём половины RX-буфера завершён
 * @param  hsai : указатель на SAI handle
 */
void HAL_SAI_RxHalfCpltCallback(SAI_HandleTypeDef *hsai)
{
  if (ptt_state_get() == PTT_ACTIVE)
  {
    w5500_msg_t w5500_msg = {.w5500_cmd = W5500_CMD_TRANSMIT_SAMPLE, .data_ptr = (uint8_t *)sai_b_buf};
    osMessageQueuePut(W5500QueueHandle, &w5500_msg, 0U, 0U);
    if (dev_addr_get() == DEV_ADDR_A) // DEV_ADDR_A
    {
      audio_msg_t audio_msg = {.ptr = sai_b_buf};
      osMessageQueuePut(RxVocoderToAudioMixQueueHandle, &audio_msg, 0U, 0U);
    }
  }
}

/**
 * @brief  Callback: приём полного RX-буфера завершён
 * @param  hsai : указатель на SAI handle
 */
void HAL_SAI_RxCpltCallback(SAI_HandleTypeDef *hsai)
{
  if (ptt_state_get() == PTT_ACTIVE)
  {
    w5500_msg_t msg = {.w5500_cmd = W5500_CMD_TRANSMIT_SAMPLE, .data_ptr = (uint8_t *)(sai_b_buf + AUDIO_SAMPLE_SIZE)};
    osMessageQueuePut(W5500QueueHandle, &msg, 0U, 0U);
    if (dev_addr_get() == DEV_ADDR_A) // DEV_ADDR_A
    {
      audio_msg_t audio_msg = {.ptr = &sai_b_buf[AUDIO_SAMPLE_SIZE]};
      osMessageQueuePut(RxVocoderToAudioMixQueueHandle, &audio_msg, 0U, 0U);
    }
  }
}

void device_delay_ms(uint32_t ms)
{
  osDelay(ms);
}

void ethernet_delay(uint32_t ms)
{
  osDelay(ms);
}

void timer_call_start(void)
{
  osTimerStart(CallLedTimerHandle, 200);
}

void timer_call_stop(void)
{
  osTimerStop(CallLedTimerHandle);
}

static uint8_t all_tasks_alive(void)
{
  for (int i = 0; i < NUM_TASKS; i++)
  {
    if (task_alive[i] == 0)
    {
      return 0; // хотя бы одна задача не обновила heartbeat
    }
  }

  // Все задачи живы → обнуляем флаги для следующего интервала
  for (int i = 0; i < NUM_TASKS; i++)
  {
    task_alive[i] = 0;
  }

  return 1; // все задачи живы
}

/* USER CODE END Application */
